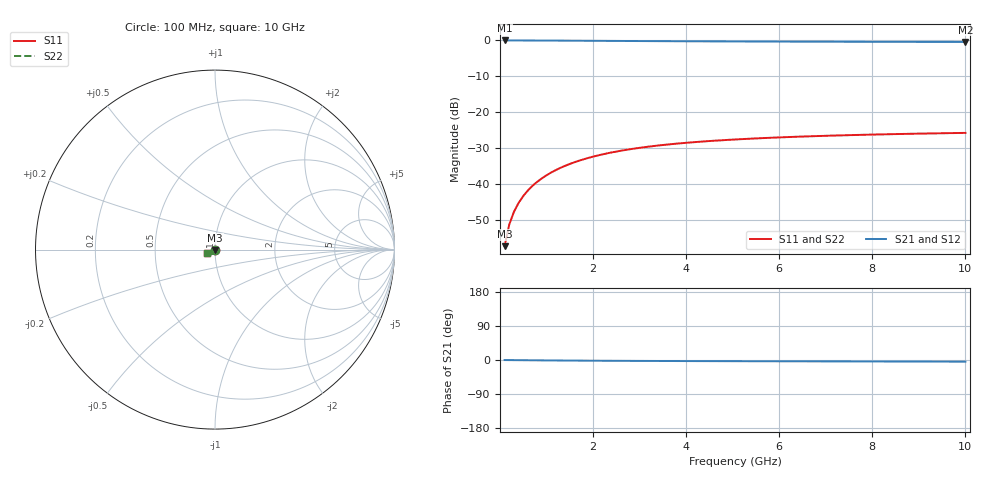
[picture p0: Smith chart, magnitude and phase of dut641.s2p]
! Touchstone file exported from HFSS 2024.1.0
!  File:  C:/UserFiles/LocalFiles/RDL_TSV_Batchsim/temp_TSV1_641_1779791057.aedt
!  Generated:  06:30:36 PM May 26, 2026
!  Design:  TSV1
!  Project:  temp_TSV1_641_1779791057
!  Setup:  Setup1
!  Solution:  Sweep
! Variables:
!  dtsv = 13.12um
!  hbump = 3um
!  htsv = 65.06um
!  lrdl = 252.1521522um
!  p = 40
!  p1 = 43.35um
!  t = 500um
!  trdl = 3um
!  wrdl = 24.89489489um
# GHz S MA R 50.000000
! Terminal data exported
! Port[1] = TSV22_T1
! Port[2] = TSV22_T2
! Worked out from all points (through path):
!   100 points, 100 MHz to 10 GHz, reference 50 ohm
!   highest |S21| = 0.00 dB at 100 MHz (marker M1); lowest = -0.4 dB at 10 GHz (marker M2)
!   lowest |S11| = -57.3 dB at 100 MHz (marker M3), VSWR 1.00, Z = 50 - j0.136 ohm
!   |S11| at or under -10 dB: start of sweep to end of sweep
!   |S22| runs from -57.3 to -25.8 dB; largest |S21 - S12| = 4.1e-15
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0.1  0.001362 -88.1  0.9999 -0.1  0.9999 -0.1  0.001362 -88.1
! Gamma 0 0 0 0
! Port Impedance 50 0 50 0
0.2  0.002729 -91.1  0.9998 -0.2  0.9998 -0.2  0.002729 -91.1
0.3  0.004095 -93.1  0.9996 -0.3  0.9996 -0.3  0.004095 -93.1
0.4  0.005452 -95.0  0.9993 -0.4  0.9993 -0.4  0.005452 -95.0
0.5  0.006797 -96.6  0.999 -0.6  0.999 -0.6  0.006797 -96.6
0.6  0.008126 -98.3  0.9986 -0.7  0.9986 -0.7  0.008126 -98.3
0.7  0.009437 -99.8  0.9981 -0.8  0.9981 -0.8  0.009437 -99.8
0.8  0.01073 -101.3  0.9976 -0.9  0.9976 -0.9  0.01073 -101.3
0.9  0.01199 -102.8  0.9971 -1.0  0.9971 -1.0  0.01199 -102.8
1.1  0.01445 -105.7  0.9958 -1.2  0.9958 -1.2  0.01445 -105.7
1.4  0.01793 -109.8  0.9936 -1.4  0.9936 -1.4  0.01793 -109.8
1.6  0.02009 -112.3  0.9921 -1.6  0.9921 -1.6  0.02009 -112.3
1.8  0.02214 -114.8  0.9905 -1.7  0.9905 -1.7  0.02214 -114.8
2.1  0.02497 -118.2  0.988 -1.9  0.988 -1.9  0.02497 -118.2
2.5  0.02832 -122.3  0.9847 -2.2  0.9847 -2.2  0.02832 -122.3
2.9  0.03124 -126.0  0.9816 -2.4  0.9816 -2.4  0.03124 -126.0
3.4  0.03437 -130.1  0.9779 -2.6  0.9779 -2.6  0.03437 -130.1
4.2  0.0384 -135.5  0.9727 -2.9  0.9727 -2.9  0.0384 -135.5
5.1  0.04188 -140.3  0.9678 -3.2  0.9678 -3.2  0.04188 -140.3
6.7  0.0463 -146.8  0.9612 -3.6  0.9612 -3.6  0.0463 -146.8
8.4  0.04946 -151.9  0.9564 -4.0  0.9564 -4.0  0.04946 -151.9
10  0.05154 -155.5  0.9531 -4.4  0.9531 -4.4  0.05154 -155.5
